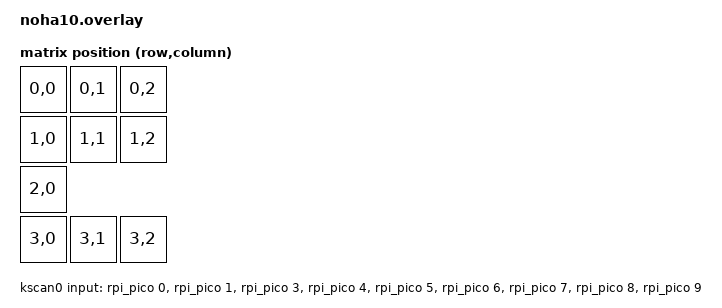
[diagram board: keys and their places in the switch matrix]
#include <dt-bindings/zmk/matrix_transform.h>

/ {
	chosen {
		zmk,kscan = &kscan0;
        zmk,matrix_transform = &default_transform;
	};

    kscan0: kscan {
        compatible = "zmk,kscan-gpio-direct";
        input-gpios
            = <&rpi_pico 0 (GPIO_ACTIVE_LOW | GPIO_PULL_UP)>
            , <&rpi_pico 1 (GPIO_ACTIVE_LOW | GPIO_PULL_UP)>
            , <&rpi_pico 3 (GPIO_ACTIVE_LOW | GPIO_PULL_UP)>
            , <&rpi_pico 4 (GPIO_ACTIVE_LOW | GPIO_PULL_UP)>
            , <&rpi_pico 5 (GPIO_ACTIVE_LOW | GPIO_PULL_UP)>
            , <&rpi_pico 6 (GPIO_ACTIVE_LOW | GPIO_PULL_UP)>
            , <&rpi_pico 7 (GPIO_ACTIVE_LOW | GPIO_PULL_UP)>
            , <&rpi_pico 8 (GPIO_ACTIVE_LOW | GPIO_PULL_UP)>
            , <&rpi_pico 9 (GPIO_ACTIVE_LOW | GPIO_PULL_UP)>
            ;
    };


    default_transform: keymap_transform_0 {
        compatible = "zmk,matrix-transform";
        columns = <3>;
        rows = <4>;
        map = <
        RC(0,0) RC(0,1) RC(0,2) 
        RC(1,0) RC(1,1) RC(1,2) 
        RC(2,0) 
        RC(3,0) RC(3,1) RC(3,2)
            >;
    };
};

